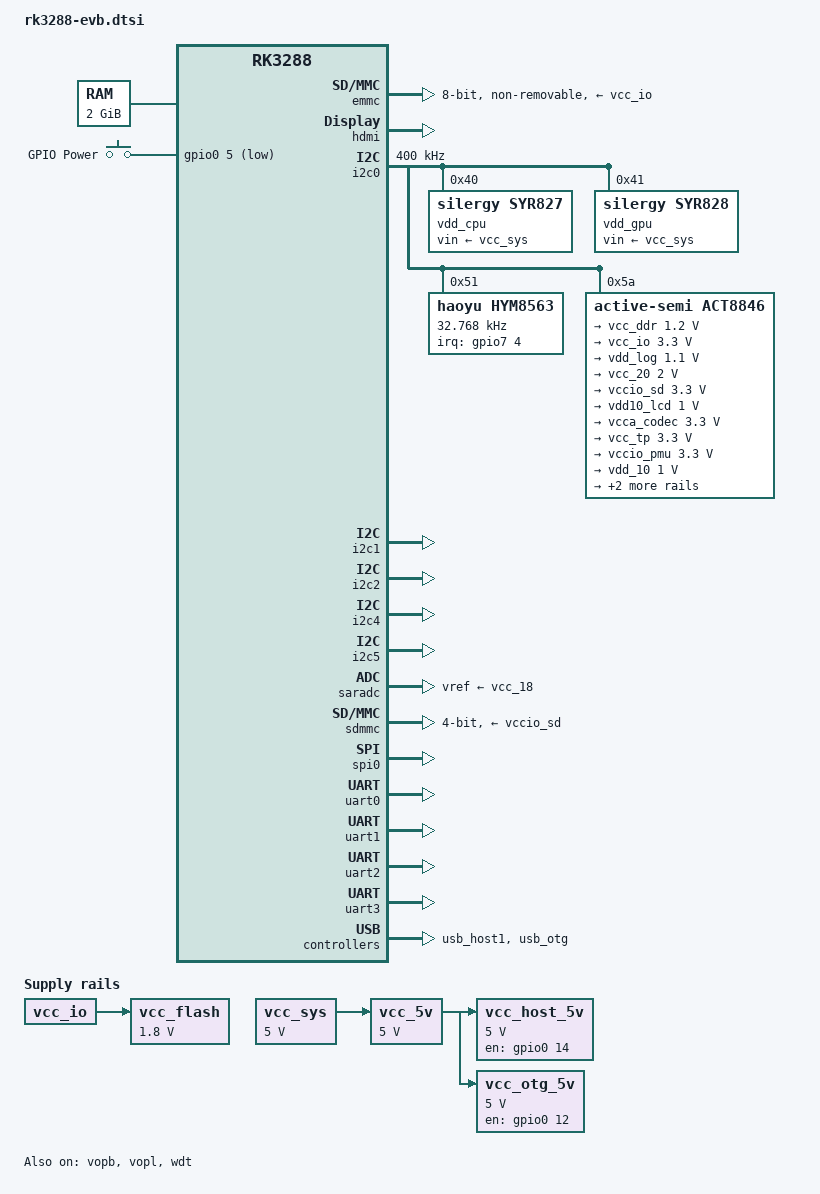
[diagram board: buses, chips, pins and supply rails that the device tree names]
/*
 * (C) Copyright 2016 Rockchip Electronics Co., Ltd
 *
 * SPDX-License-Identifier:     GPL-2.0+ X11
 */

#include "rk3288.dtsi"

/ {
	memory {
		reg = <0 0x80000000>;
	};

	keys: gpio-keys {
		compatible = "gpio-keys";
		#address-cells = <1>;
		#size-cells = <0>;

		button@0 {
			gpio-key,wakeup = <1>;
			gpios = <&gpio0 5 GPIO_ACTIVE_LOW>;
			label = "GPIO Power";
			linux,code = <116>;
			pinctrl-names = "default";
			pinctrl-0 = <&pwr_key>;
		};
	};

	vcc_sys: vsys-regulator {
		compatible = "regulator-fixed";
		regulator-name = "vcc_sys";
		regulator-min-microvolt = <5000000>;
		regulator-max-microvolt = <5000000>;
		regulator-always-on;
		regulator-boot-on;
	};

	vcc_flash: flash-regulator {
		compatible = "regulator-fixed";
		regulator-name = "vcc_flash";
		regulator-min-microvolt = <1800000>;
		regulator-max-microvolt = <1800000>;
		vin-supply = <&vcc_io>;
	};

	vcc_5v: usb-regulator {
		compatible = "regulator-fixed";
		regulator-name = "vcc_5v";
		regulator-min-microvolt = <5000000>;
		regulator-max-microvolt = <5000000>;
		regulator-always-on;
		regulator-boot-on;
		vin-supply = <&vcc_sys>;
	};

	vcc_host_5v: usb-host-regulator {
		compatible = "regulator-fixed";
		enable-active-high;
		gpio = <&gpio0 14 GPIO_ACTIVE_HIGH>;
		pinctrl-names = "default";
		pinctrl-0 = <&host_vbus_drv>;
		regulator-name = "vcc_host_5v";
		regulator-min-microvolt = <5000000>;
		regulator-max-microvolt = <5000000>;
		regulator-always-on;
		vin-supply = <&vcc_5v>;
	};

	vcc_otg_5v: usb-otg-regulator {
		compatible = "regulator-fixed";
		enable-active-high;
		gpio = <&gpio0 12 GPIO_ACTIVE_HIGH>;
		pinctrl-names = "default";
		pinctrl-0 = <&otg_vbus_drv>;
		regulator-name = "vcc_otg_5v";
		regulator-min-microvolt = <5000000>;
		regulator-max-microvolt = <5000000>;
		regulator-always-on;
		vin-supply = <&vcc_5v>;
	};
};

&cpu0 {
	cpu0-supply = <&vdd_cpu>;
};

&emmc {
	broken-cd;
	bus-width = <8>;
	cap-mmc-highspeed;
	disable-wp;
	non-removable;
	num-slots = <1>;
	pinctrl-names = "default";
	pinctrl-0 = <&emmc_clk>, <&emmc_cmd>, <&emmc_pwr>, <&emmc_bus8>;
	vmmc-supply = <&vcc_io>;
	vqmmc-supply = <&vcc_flash>;
	status = "okay";
};

&hdmi {
	ddc-i2c-bus = <&i2c5>;
	status = "okay";
};

&i2c0 {
	clock-frequency = <400000>;
	status = "okay";

	vdd_cpu: syr827@40 {
		compatible = "silergy,syr827";
		fcs,suspend-voltage-selector = <1>;
		reg = <0x40>;
		regulator-name = "vdd_cpu";
		regulator-min-microvolt = <850000>;
		regulator-max-microvolt = <1350000>;
		regulator-always-on;
		regulator-boot-on;
		vin-supply = <&vcc_sys>;
	};

	vdd_gpu: syr828@41 {
		compatible = "silergy,syr828";
		fcs,suspend-voltage-selector = <1>;
		reg = <0x41>;
		regulator-name = "vdd_gpu";
		regulator-min-microvolt = <850000>;
		regulator-max-microvolt = <1350000>;
		regulator-always-on;
		vin-supply = <&vcc_sys>;
	};

	hym8563: hym8563@51 {
		compatible = "haoyu,hym8563";
		reg = <0x51>;
		#clock-cells = <0>;
		clock-frequency = <32768>;
		clock-output-names = "xin32k";
		interrupt-parent = <&gpio7>;
		interrupts = <4 IRQ_TYPE_EDGE_FALLING>;
		pinctrl-names = "default";
		pinctrl-0 = <&rtc_int>;
	};

	act8846: act8846@5a {
		compatible = "active-semi,act8846";
		reg = <0x5a>;
		pinctrl-names = "default";
		pinctrl-0 = <&pwr_hold>;
		system-power-controller;

		regulators {
			vcc_ddr: REG1 {
				regulator-name = "vcc_ddr";
				regulator-min-microvolt = <1200000>;
				regulator-max-microvolt = <1200000>;
				regulator-always-on;
			};

			vcc_io: REG2 {
				regulator-name = "vcc_io";
				regulator-min-microvolt = <3300000>;
				regulator-max-microvolt = <3300000>;
				regulator-always-on;
			};

			vdd_log: REG3 {
				regulator-name = "vdd_log";
				regulator-min-microvolt = <1100000>;
				regulator-max-microvolt = <1100000>;
				regulator-always-on;
			};

			vcc_20: REG4 {
				regulator-name = "vcc_20";
				regulator-min-microvolt = <2000000>;
				regulator-max-microvolt = <2000000>;
				regulator-always-on;
			};

			vccio_sd: REG5 {
				regulator-name = "vccio_sd";
				regulator-min-microvolt = <3300000>;
				regulator-max-microvolt = <3300000>;
				regulator-always-on;
			};

			vdd10_lcd: REG6 {
				regulator-name = "vdd10_lcd";
				regulator-min-microvolt = <1000000>;
				regulator-max-microvolt = <1000000>;
				regulator-always-on;
			};

			vcca_codec: REG7 {
				regulator-name = "vcca_codec";
				regulator-min-microvolt = <3300000>;
				regulator-max-microvolt = <3300000>;
			};

			vcc_tp: REG8 {
				regulator-name = "vcca_33";
				regulator-min-microvolt = <3300000>;
				regulator-max-microvolt = <3300000>;
			};

			vccio_pmu: REG9 {
				regulator-name = "vccio_pmu";
				regulator-min-microvolt = <3300000>;
				regulator-max-microvolt = <3300000>;
			};

			vdd_10: REG10 {
				regulator-name = "vdd_10";
				regulator-min-microvolt = <1000000>;
				regulator-max-microvolt = <1000000>;
				regulator-always-on;
			};

			vcc_18: REG11 {
				regulator-name = "vcc_18";
				regulator-min-microvolt = <1800000>;
				regulator-max-microvolt = <1800000>;
				regulator-always-on;
			};

			vcc18_lcd: REG12 {
				regulator-name = "vcc18_lcd";
				regulator-min-microvolt = <1800000>;
				regulator-max-microvolt = <1800000>;
				regulator-always-on;
			};
		};
	};
};

&i2c1 {
	status = "okay";
};

&i2c2 {
	status = "okay";
};

&i2c4 {
	status = "okay";
};

&i2c5 {
	status = "okay";
};

&pinctrl {
	pcfg_output_high: pcfg-output-high {
		output-high;
	};

	pcfg_output_low: pcfg-output-low {
		output-low;
	};

	act8846 {
		pwr_hold: pwr-hold {
			rockchip,pins = <0 9 RK_FUNC_GPIO &pcfg_output_high>;
		};
	};

	hym8563 {
		rtc_int: rtc-int {
			rockchip,pins = <0 4 RK_FUNC_GPIO &pcfg_pull_up>;
		};
	};

	keys {
		pwr_key: pwr-key {
			rockchip,pins = <0 5 RK_FUNC_GPIO &pcfg_pull_up>;
		};
	};

	sdmmc {
		sdmmc_pwr: sdmmc-pwr {
			rockchip,pins = <7 11 RK_FUNC_GPIO &pcfg_pull_none>;
		};
	};

	usb_host {
		host_vbus_drv: host-vbus-drv {
			rockchip,pins = <0 14 RK_FUNC_GPIO &pcfg_pull_none>;
		};
	};

	usb_otg {
		otg_vbus_drv: otg-vbus-drv {
			rockchip,pins = <0 12 RK_FUNC_GPIO &pcfg_pull_none>;
		};
	};
};

&saradc {
	vref-supply = <&vcc_18>;
	status = "okay";
};

&sdio0 {
	broken-cd;
	bus-width = <4>;
	disable-wp;
	non-removable;
	num-slots = <1>;
	pinctrl-names = "default";
	pinctrl-0 = <&sdio0_bus4>, <&sdio0_cmd>, <&sdio0_clk>;
	vmmc-supply = <&vcc_18>;
	status = "disabled";
};

&sdmmc {
	bus-width = <4>;
	cap-mmc-highspeed;
	cap-sd-highspeed;
	card-detect-delay = <200>;
	disable-wp;
	num-slots = <1>;
	pinctrl-names = "default";
	pinctrl-0 = <&sdmmc_clk>, <&sdmmc_cmd>, <&sdmmc_cd>, <&sdmmc_bus4>;
	vmmc-supply = <&vccio_sd>;
	status = "okay";
};

&spi0 {
	pinctrl-names = "default";
	pinctrl-0 = <&spi0_clk>, <&spi0_cs0>, <&spi0_tx>, <&spi0_rx>, <&spi0_cs1>;
	status = "okay";
};

&uart0 {
	pinctrl-names = "default";
	pinctrl-0 = <&uart0_xfer>, <&uart0_cts>, <&uart0_rts>;
	status = "okay";
};

&uart1 {
	status = "okay";
};

&uart2 {
	status = "okay";
};

&uart3 {
	status = "okay";
};

&usb_host1 {
	status = "okay";
};

&usb_otg {
	status = "okay";
};

&vopb {
	status = "okay";
};

&vopb_mmu {
	status = "okay";
};

&vopl {
	status = "okay";
};

&vopl_mmu {
	status = "okay";
};

&wdt {
	status = "okay";
};
